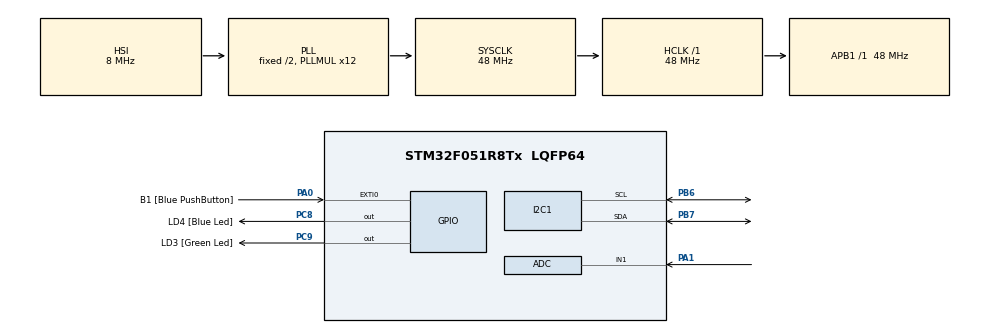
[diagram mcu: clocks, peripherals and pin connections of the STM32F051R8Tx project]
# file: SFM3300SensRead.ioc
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ADC.ContinuousConvMode=ENABLE
ADC.SamplingTime=ADC_SAMPLETIME_55CYCLES_5
Dma.ADC.0.Direction=DMA_PERIPH_TO_MEMORY
Dma.ADC.0.Instance=DMA1_Channel1
Dma.ADC.0.MemDataAlignment=DMA_MDATAALIGN_HALFWORD
Dma.ADC.0.MemInc=DMA_MINC_ENABLE
Dma.ADC.0.Mode=DMA_NORMAL
Dma.ADC.0.PeriphDataAlignment=DMA_PDATAALIGN_HALFWORD
Dma.ADC.0.PeriphInc=DMA_PINC_DISABLE
Dma.ADC.0.Priority=DMA_PRIORITY_LOW
Dma.Request0=ADC
Mcu.Family=STM32F0
Mcu.Name=STM32F051R8Tx
Mcu.Package=LQFP64
NVIC.DMA1_Channel1_IRQn=true\:0\:0\:false\:false\:true\:false\:true\:true
PA0.GPIO_Label=B1 [Blue PushButton]
PA0.GPIO_ModeDefaultEXTI=GPIO_MODE_EVT_RISING
PA0.Signal=GPXTI0
PA1.Mode=IN1
PA1.Signal=ADC_IN1
PA13.GPIO_Label=SWDIO
PA13.Mode=Serial_Wire
PA13.Signal=SYS_SWDIO
PA14.GPIO_Label=SWCLK
PA14.Mode=Serial_Wire
PA14.Signal=SYS_SWCLK
PB6.Mode=I2C
PB6.Signal=I2C1_SCL
PB7.Mode=I2C
PB7.Signal=I2C1_SDA
PC8.GPIO_Label=LD4 [Blue Led]
PC8.Signal=GPIO_Output
PC9.GPIO_Label=LD3 [Green Led]
PC9.Signal=GPIO_Output
ProjectManager.HeapSize=0x200
ProjectManager.StackSize=0x400
ProjectManager.TargetToolchain=STM32CubeIDE
RCC.AHBFreq_Value=48000000
RCC.APB1Freq_Value=48000000
RCC.APB1TimFreq_Value=48000000
RCC.HCLKFreq_Value=48000000
RCC.PLLMUL=RCC_PLL_MUL12
RCC.SYSCLKFreq_VALUE=48000000
RCC.SYSCLKSource=RCC_SYSCLKSOURCE_PLLCLK
board=STM32F0DISCOVERY

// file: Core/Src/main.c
/* USER CODE BEGIN Header */
/**
  ******************************************************************************
  * @file           : main.c
  * @brief          : Main program body
  ******************************************************************************
  * @attention
  *
  * Copyright (c) 2022 STMicroelectronics.
  * All rights reserved.
  *
  * This software is licensed under terms that can be found in the LICENSE file
  * in the root directory of this software component.
  * If no LICENSE file comes with this software, it is provided AS-IS.
  *
  ******************************************************************************
  */
/* USER CODE END Header */
#include "main.h"

/* USER CODE BEGIN Includes */
#include "SFM3300.h"
/* USER CODE END Includes */

 ADC_HandleTypeDef hadc;

I2C_HandleTypeDef hi2c1;

/* USER CODE BEGIN PV */
 uint8_t receivedData_SensorOne[3];

 uint8_t result;

 double airflow_sensorOne;
 uint16_t pressureSens1_kPa;

 uint16_t adc_value = 0;

 SFM3300_t SFM3300;
/* USER CODE END PV */

void SystemClock_Config(void);
static void MX_GPIO_Init(void);
static void MX_I2C1_Init(void);
static void MX_ADC_Init(void);

int main(void)
{

  /* MCU Configuration--------------------------------------------------------*/

  /* Reset of all peripherals, Initializes the Flash interface and the Systick. */
  HAL_Init();

  /* Configure the system clock */
  SystemClock_Config();

  /* Initialize all configured peripherals */
  MX_GPIO_Init();
  MX_I2C1_Init();
  MX_ADC_Init();
  /* USER CODE BEGIN 2 */

  SFM3300_Init(&hi2c1);
  /* USER CODE END 2 */

  /* Infinite loop */
  /* USER CODE BEGIN WHILE */
  while (1)
  {
	  // read flow sens One
	  SFM3300_Read_Current(&hi2c1, receivedData_SensorOne); // 3 byte veri okuyacak ve "receivedData_SensorOne" içine atayacak.

	  result = SMF3300_CheckCrc(receivedData_SensorOne, 2, receivedData_SensorOne[2]);
	  if(result == 0x00)
	  {
		  airflow_sensorOne = SFM3300_ConvertRawData_to_FlowValue(receivedData_SensorOne);
	  }

	  // read pressure sensor one

	  HAL_ADC_Start(&hadc);
	  HAL_ADC_PollForConversion(&hadc, 1); // timeout 1ms
	  adc_value = HAL_ADC_GetValue(&hadc);
	  pressureSens1_kPa = (uint16_t)(((((float)adc_value / 4096) -0.04 ) / 0.09)*100);

    /* USER CODE END WHILE */

  }
}

void SystemClock_Config(void)
{
  RCC_OscInitTypeDef RCC_OscInitStruct = {0};
  RCC_ClkInitTypeDef RCC_ClkInitStruct = {0};
  RCC_PeriphCLKInitTypeDef PeriphClkInit = {0};

  /** Initializes the RCC Oscillators according to the specified parameters
  * in the RCC_OscInitTypeDef structure.
  */
  RCC_OscInitStruct.OscillatorType = RCC_OSCILLATORTYPE_HSI|RCC_OSCILLATORTYPE_HSI14;
  RCC_OscInitStruct.HSIState = RCC_HSI_ON;
  RCC_OscInitStruct.HSI14State = RCC_HSI14_ON;
  RCC_OscInitStruct.HSICalibrationValue = RCC_HSICALIBRATION_DEFAULT;
  RCC_OscInitStruct.HSI14CalibrationValue = 16;
  RCC_OscInitStruct.PLL.PLLState = RCC_PLL_ON;
  RCC_OscInitStruct.PLL.PLLSource = RCC_PLLSOURCE_HSI;
  RCC_OscInitStruct.PLL.PLLMUL = RCC_PLL_MUL12;
  RCC_OscInitStruct.PLL.PREDIV = RCC_PREDIV_DIV1;
  if (HAL_RCC_OscConfig(&RCC_OscInitStruct) != HAL_OK)
  {
    Error_Handler();
  }

  /** Initializes the CPU, AHB and APB buses clocks
  */
  RCC_ClkInitStruct.ClockType = RCC_CLOCKTYPE_HCLK|RCC_CLOCKTYPE_SYSCLK
                              |RCC_CLOCKTYPE_PCLK1;
  RCC_ClkInitStruct.SYSCLKSource = RCC_SYSCLKSOURCE_PLLCLK;
  RCC_ClkInitStruct.AHBCLKDivider = RCC_SYSCLK_DIV1;
  RCC_ClkInitStruct.APB1CLKDivider = RCC_HCLK_DIV1;

  if (HAL_RCC_ClockConfig(&RCC_ClkInitStruct, FLASH_LATENCY_1) != HAL_OK)
  {
    Error_Handler();
  }
  PeriphClkInit.PeriphClockSelection = RCC_PERIPHCLK_I2C1;
  PeriphClkInit.I2c1ClockSelection = RCC_I2C1CLKSOURCE_HSI;
  if (HAL_RCCEx_PeriphCLKConfig(&PeriphClkInit) != HAL_OK)
  {
    Error_Handler();
  }
}

static void MX_ADC_Init(void)
{

  ADC_ChannelConfTypeDef sConfig = {0};

  /** Configure the global features of the ADC (Clock, Resolution, Data Alignment and number of conversion)
  */
  hadc.Instance = ADC1;
  hadc.Init.ClockPrescaler = ADC_CLOCK_ASYNC_DIV1;
  hadc.Init.Resolution = ADC_RESOLUTION_12B;
  hadc.Init.DataAlign = ADC_DATAALIGN_RIGHT;
  hadc.Init.ScanConvMode = ADC_SCAN_DIRECTION_FORWARD;
  hadc.Init.EOCSelection = ADC_EOC_SINGLE_CONV;
  hadc.Init.LowPowerAutoWait = DISABLE;
  hadc.Init.LowPowerAutoPowerOff = DISABLE;
  hadc.Init.ContinuousConvMode = ENABLE;
  hadc.Init.DiscontinuousConvMode = DISABLE;
  hadc.Init.ExternalTrigConv = ADC_SOFTWARE_START;
  hadc.Init.ExternalTrigConvEdge = ADC_EXTERNALTRIGCONVEDGE_NONE;
  hadc.Init.DMAContinuousRequests = DISABLE;
  hadc.Init.Overrun = ADC_OVR_DATA_PRESERVED;
  if (HAL_ADC_Init(&hadc) != HAL_OK)
  {
    Error_Handler();
  }

  /** Configure for the selected ADC regular channel to be converted.
  */
  sConfig.Channel = ADC_CHANNEL_1;
  sConfig.Rank = ADC_RANK_CHANNEL_NUMBER;
  sConfig.SamplingTime = ADC_SAMPLETIME_1CYCLE_5;
  if (HAL_ADC_ConfigChannel(&hadc, &sConfig) != HAL_OK)
  {
    Error_Handler();
  }

  /** Configure for the selected ADC regular channel to be converted.
  */
  sConfig.Channel = ADC_CHANNEL_2;
  if (HAL_ADC_ConfigChannel(&hadc, &sConfig) != HAL_OK)
  {
    Error_Handler();
  }

}

static void MX_I2C1_Init(void)
{

  hi2c1.Instance = I2C1;
  hi2c1.Init.Timing = 0x2000090E;
  hi2c1.Init.OwnAddress1 = 0;
  hi2c1.Init.AddressingMode = I2C_ADDRESSINGMODE_7BIT;
  hi2c1.Init.DualAddressMode = I2C_DUALADDRESS_DISABLE;
  hi2c1.Init.OwnAddress2 = 0;
  hi2c1.Init.OwnAddress2Masks = I2C_OA2_NOMASK;
  hi2c1.Init.GeneralCallMode = I2C_GENERALCALL_DISABLE;
  hi2c1.Init.NoStretchMode = I2C_NOSTRETCH_DISABLE;
  if (HAL_I2C_Init(&hi2c1) != HAL_OK)
  {
    Error_Handler();
  }

  /** Configure Analogue filter
  */
  if (HAL_I2CEx_ConfigAnalogFilter(&hi2c1, I2C_ANALOGFILTER_ENABLE) != HAL_OK)
  {
    Error_Handler();
  }

  /** Configure Digital filter
  */
  if (HAL_I2CEx_ConfigDigitalFilter(&hi2c1, 0) != HAL_OK)
  {
    Error_Handler();
  }

}

static void MX_GPIO_Init(void)
{
  GPIO_InitTypeDef GPIO_InitStruct = {0};

  /* GPIO Ports Clock Enable */
  __HAL_RCC_GPIOA_CLK_ENABLE();
  __HAL_RCC_GPIOC_CLK_ENABLE();
  __HAL_RCC_GPIOB_CLK_ENABLE();

  /*Configure GPIO pin Output Level */
  HAL_GPIO_WritePin(GPIOC, LD4_Pin|LD3_Pin, GPIO_PIN_RESET);

  /*Configure GPIO pin : B1_Pin */
  GPIO_InitStruct.Pin = B1_Pin;
  GPIO_InitStruct.Mode = GPIO_MODE_EVT_RISING;
  GPIO_InitStruct.Pull = GPIO_NOPULL;
  HAL_GPIO_Init(B1_GPIO_Port, &GPIO_InitStruct);

  /*Configure GPIO pins : LD4_Pin LD3_Pin */
  GPIO_InitStruct.Pin = LD4_Pin|LD3_Pin;
  GPIO_InitStruct.Mode = GPIO_MODE_OUTPUT_PP;
  GPIO_InitStruct.Pull = GPIO_NOPULL;
  GPIO_InitStruct.Speed = GPIO_SPEED_FREQ_LOW;
  HAL_GPIO_Init(GPIOC, &GPIO_InitStruct);

}

void Error_Handler(void)
{
  __disable_irq();
  while (1)
  {
  }
}
